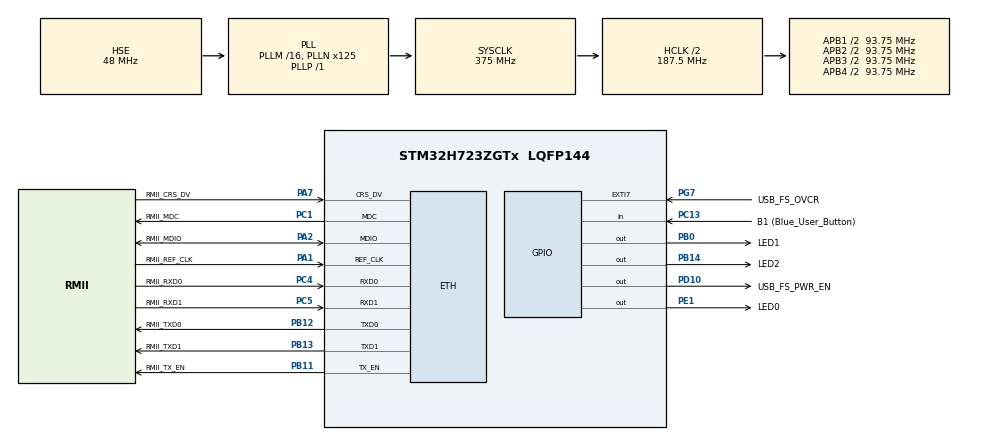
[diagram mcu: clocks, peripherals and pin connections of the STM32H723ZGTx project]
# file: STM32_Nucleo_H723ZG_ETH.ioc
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CORTEX_M7.AccessPermission_S-Cortex_Memory_Protection_Unit_Region1_Settings_S=MPU_REGION_FULL_ACCESS
CORTEX_M7.AccessPermission_S-Cortex_Memory_Protection_Unit_Region2_Settings_S=MPU_REGION_FULL_ACCESS
CORTEX_M7.BaseAddress_S-Cortex_Memory_Protection_Unit_Region1_Settings_S=0x30000000
CORTEX_M7.BaseAddress_S-Cortex_Memory_Protection_Unit_Region2_Settings_S=0x30000000
CORTEX_M7.CPU_DCache=Enabled
CORTEX_M7.CPU_ICache=Enabled
CORTEX_M7.DisableExec_S-Cortex_Memory_Protection_Unit_Region1_Settings_S=MPU_INSTRUCTION_ACCESS_DISABLE
CORTEX_M7.DisableExec_S-Cortex_Memory_Protection_Unit_Region2_Settings_S=MPU_INSTRUCTION_ACCESS_DISABLE
CORTEX_M7.Enable_S-Cortex_Memory_Protection_Unit_Region1_Settings_S=MPU_REGION_ENABLE
CORTEX_M7.Enable_S-Cortex_Memory_Protection_Unit_Region2_Settings_S=MPU_REGION_ENABLE
CORTEX_M7.IsBufferable_S-Cortex_Memory_Protection_Unit_Region2_Settings_S=MPU_ACCESS_BUFFERABLE
CORTEX_M7.IsShareable_S-Cortex_Memory_Protection_Unit_Region2_Settings_S=MPU_ACCESS_SHAREABLE
CORTEX_M7.Size_S-Cortex_Memory_Protection_Unit_Region1_Settings_S=MPU_REGION_SIZE_32KB
CORTEX_M7.Size_S-Cortex_Memory_Protection_Unit_Region2_Settings_S=MPU_REGION_SIZE_512B
CORTEX_M7.TypeExtField_S-Cortex_Memory_Protection_Unit_Region1_Settings_S=MPU_TEX_LEVEL1
CORTEX_M7.default_mode_Activation=1
ETH.MediaInterface=HAL_ETH_RMII_MODE
ETH.RxBuffLen=1536
ETH.TxDescAddress=0x30000100
FREERTOS.HEAP_NUMBER=4
FREERTOS.Tasks01=tcpTask,1,512,StartTCPTask,Default,NULL,Dynamic,NULL,NULL;HeartbeatTask,-1,256,StartHeartbeatTask,Default,NULL,Dynamic,NULL,NULL;rxMessages,-3,256,StartRXMessages,Default,NULL,Dynamic,NULL,NULL
FREERTOS.configMAX_PRIORITIES=16
FREERTOS.configTOTAL_HEAP_SIZE=25600
FREERTOS.configUSE_COUNTING_SEMAPHORES=1
FREERTOS.configUSE_NEWLIB_REENTRANT=1
LWIP.BSP.number=1
LWIP.IP_ADDRESS=192.168.050.010
LWIP.LWIP_DHCP=0
LWIP.LWIP_RAM_HEAP_POINTER=0x30000200
LWIP.MEM_SIZE=32232
LWIP.NETMASK_ADDRESS=255.255.255.000
LWIP.PBUF_POOL_BUFSIZE=592
LWIP.Version=v2.1.2_Cube
LWIP0.BSP.STBoard=false
LWIP0.BSP.api=BSP_COMPONENT_DRIVER
LWIP0.BSP.component=LAN8742
LWIP0.BSP.instance=LAN8742
LWIP0.BSP.name=Driver_PHY
LWIP0.BSP.semaphore=S_LAN8742
LWIP0.BSP.solution=LAN8742
Mcu.Family=STM32H7
Mcu.Name=STM32H723ZGTx
Mcu.Package=LQFP144
NVIC.ETH_IRQn=true\:5\:0\:false\:false\:true\:true\:true\:true\:true
NVIC.PriorityGroup=NVIC_PRIORITYGROUP_4
NVIC.TIM2_IRQn=true\:15\:0\:false\:false\:true\:false\:false\:true\:true
NVIC.TimeBase=TIM2_IRQn
NVIC.TimeBaseIP=TIM2
PA1.GPIO_Label=RMII_REF_CLK
PA1.GPIO_Speed=GPIO_SPEED_FREQ_VERY_HIGH
PA1.Mode=RMII
PA1.Signal=ETH_REF_CLK
PA10.GPIO_Label=USB_FS_ID
PA10.Signal=USB_OTG_HS_ID
PA13(JTMS/SWDIO).GPIO_Label=SWDIO
PA13(JTMS/SWDIO).Signal=DEBUG_JTMS-SWDIO
PA14(JTCK/SWCLK).GPIO_Label=SWCLK
PA14(JTCK/SWCLK).Signal=DEBUG_JTCK-SWCLK
PA2.GPIO_Label=RMII_MDIO
PA2.GPIO_Speed=GPIO_SPEED_FREQ_VERY_HIGH
PA2.Mode=RMII
PA2.Signal=ETH_MDIO
PA7.GPIO_Label=RMII_CRS_DV
PA7.GPIO_Speed=GPIO_SPEED_FREQ_VERY_HIGH
PA7.Mode=RMII
PA7.Signal=ETH_CRS_DV
PA9.GPIO_Label=USB_FS_VBUS
PA9.Signal=USB_OTG_HS_VBUS
PB0.GPIO_Label=LED1
PB0.Signal=GPIO_Output
PB11.GPIO_Label=RMII_TX_EN
PB11.GPIO_Speed=GPIO_SPEED_FREQ_VERY_HIGH
PB11.Mode=RMII
PB11.Signal=ETH_TX_EN
PB12.GPIO_Label=RMII_TXD0
PB12.GPIO_Speed=GPIO_SPEED_FREQ_VERY_HIGH
PB12.Mode=RMII
PB12.Signal=ETH_TXD0
PB13.GPIO_Label=RMII_TXD1
PB13.GPIO_Speed=GPIO_SPEED_FREQ_VERY_HIGH
PB13.Mode=RMII
PB13.Signal=ETH_TXD1
PB14.GPIO_Label=LED2
PB14.Signal=GPIO_Output
PC1.GPIO_Label=RMII_MDC
PC1.GPIO_Speed=GPIO_SPEED_FREQ_VERY_HIGH
PC1.Mode=RMII
PC1.Signal=ETH_MDC
PC13.GPIO_Label=B1 (Blue_User_Button)
PC13.Signal=GPIO_Input
PC14-OSC32_IN.Signal=RCC_OSC32_IN
PC15-OSC32_OUT.Signal=RCC_OSC32_OUT
PC4.GPIO_Label=RMII_RXD0
PC4.GPIO_Speed=GPIO_SPEED_FREQ_VERY_HIGH
PC4.Mode=RMII
PC4.Signal=ETH_RXD0
PC5.GPIO_Label=RMII_RXD1
PC5.GPIO_Speed=GPIO_SPEED_FREQ_VERY_HIGH
PC5.Mode=RMII
PC5.Signal=ETH_RXD1
PD10.GPIO_Label=USB_FS_PWR_EN
PD10.Signal=GPIO_Output
PD8.GPIO_Label=STLK_VCP_RX
PD8.Signal=USART3_TX
PD9.GPIO_Label=STLK_VCP_TX
PD9.Signal=USART3_RX
PE1.GPIO_Label=LED0
PE1.Signal=GPIO_Output
PG7.GPIO_Label=USB_FS_OVCR
PG7.Signal=GPXTI7
PH0-OSC_IN.GPIO_Label=MCO
PH0-OSC_IN.Mode=HSE-External-Oscillator
PH0-OSC_IN.Signal=RCC_OSC_IN
PH1-OSC_OUT.Mode=HSE-External-Oscillator
PH1-OSC_OUT.Signal=RCC_OSC_OUT
ProjectManager.HeapSize=0x200
ProjectManager.StackSize=0x400
ProjectManager.TargetToolchain=STM32CubeIDE
RCC.ADCFreq_Value=456000000
RCC.APB1Freq_Value=93750000
RCC.APB2Freq_Value=93750000
RCC.APB3Freq_Value=93750000
RCC.APB4Freq_Value=93750000
RCC.CortexFreq_Value=375000000
RCC.D1PPRE=RCC_APB3_DIV2
RCC.D2PPRE1=RCC_APB1_DIV2
RCC.D2PPRE2=RCC_APB2_DIV2
RCC.D3PPRE=RCC_APB4_DIV2
RCC.DIVM1=16
RCC.DIVM2=1
RCC.DIVN1=125
RCC.DIVN2=19
RCC.DIVP1=1
RCC.DIVQ1=4
RCC.HCLKFreq_Value=187500000
RCC.HPRE=RCC_HCLK_DIV2
RCC.HSE_VALUE=48000000
RCC.PLLSourceVirtual=RCC_PLLSOURCE_HSE
RCC.SYSCLKFreq_VALUE=375000000
RCC.SYSCLKSource=RCC_SYSCLKSOURCE_PLLCLK
RCC.SupplySource=PWR_EXTERNAL_SOURCE_SUPPLY
RCC.USBCLockSelection=RCC_USBCLKSOURCE_HSI48
RCC.USBFreq_Value=48000000
VP_FREERTOS_VS_CMSIS_V1.Mode=CMSIS_V1
VP_LWIP_VS_Enabled.Mode=Enabled
VP_MEMORYMAP_VS_MEMORYMAP.Mode=CurAppReg
VP_RTC_VS_RTC_Activate.Mode=RTC_Enabled
VP_SYS_VS_tim2.Mode=TIM2
board=NUCLEO-H723ZG

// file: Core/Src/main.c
/* USER CODE BEGIN Header */
/**
  ******************************************************************************
  * @file           : main.c
  * @brief          : Main program body
  ******************************************************************************
  * @attention
  *
  * Copyright (c) 2022 STMicroelectronics.
  * All rights reserved.
  *
  * This software is licensed under terms that can be found in the LICENSE file
  * in the root directory of this software component.
  * If no LICENSE file comes with this software, it is provided AS-IS.
  *
  ******************************************************************************
  */
/* USER CODE END Header */
#include "main.h"
#include "cmsis_os.h"
#include "lwip.h"

/* USER CODE BEGIN Includes */
/* ETH_CODE: add lwiperf, see comment in StartDefaultTask function */
#include "lwip/apps/lwiperf.h"
#include "tcpserver.h"
#include "tsqueue.h"
#include "tcppacket.h"
/* USER CODE END Includes */

RTC_HandleTypeDef hrtc;

osThreadId tcpTaskHandle;
osThreadId HeartbeatTaskHandle;
osThreadId rxMessagesHandle;

void SystemClock_Config(void);
static void MPU_Config(void);
static void MX_GPIO_Init(void);
static void MX_RTC_Init(void);
void StartTCPTask(void const * argument);
void StartHeartbeatTask(void const * argument);
void StartRXMessages(void const * argument);

int main(void)
{

  /* USER CODE BEGIN 1 */
  //SystemClock_Config();
  /* USER CODE END 1 */

  /* MPU Configuration--------------------------------------------------------*/
  MPU_Config();

  /* Enable the CPU Cache */

  /* Enable I-Cache---------------------------------------------------------*/
  SCB_EnableICache();

  /* Enable D-Cache---------------------------------------------------------*/
  SCB_EnableDCache();

  /* MCU Configuration--------------------------------------------------------*/

  /* Reset of all peripherals, Initializes the Flash interface and the Systick. */
  HAL_Init();

  /* USER CODE BEGIN Init */
  //HAL_TIM_Base_Init(&htim2); // Assuming you are using TIM1
  /* USER CODE END Init */

  /* Configure the system clock */
  SystemClock_Config();

  /* Initialize all configured peripherals */
  MX_GPIO_Init();
  MX_RTC_Init();

  /* Create the thread(s) */
  /* definition and creation of tcpTask */
  osThreadDef(tcpTask, StartTCPTask, osPriorityAboveNormal, 0, 512);
  tcpTaskHandle = osThreadCreate(osThread(tcpTask), NULL);

  /* definition and creation of HeartbeatTask */
  osThreadDef(HeartbeatTask, StartHeartbeatTask, osPriorityBelowNormal, 0, 256);
  HeartbeatTaskHandle = osThreadCreate(osThread(HeartbeatTask), NULL);

  /* definition and creation of rxMessages */
  osThreadDef(rxMessages, StartRXMessages, osPriorityIdle, 0, 256);
  rxMessagesHandle = osThreadCreate(osThread(rxMessages), NULL);

  /* Start scheduler */
  osKernelStart();

  /* We should never get here as control is now taken by the scheduler */

  /* Infinite loop */
  while (1)
  {

  }
}

void SystemClock_Config(void)
{
  RCC_OscInitTypeDef RCC_OscInitStruct = {0};
  RCC_ClkInitTypeDef RCC_ClkInitStruct = {0};

  /** Supply configuration update enable
  */
  HAL_PWREx_ConfigSupply(PWR_EXTERNAL_SOURCE_SUPPLY);

  /** Configure the main internal regulator output voltage
  */
  __HAL_PWR_VOLTAGESCALING_CONFIG(PWR_REGULATOR_VOLTAGE_SCALE1);

  while(!__HAL_PWR_GET_FLAG(PWR_FLAG_VOSRDY)) {}

  /** Initializes the RCC Oscillators according to the specified parameters
  * in the RCC_OscInitTypeDef structure.
  */
  RCC_OscInitStruct.OscillatorType = RCC_OSCILLATORTYPE_LSI|RCC_OSCILLATORTYPE_HSE;
  RCC_OscInitStruct.HSEState = RCC_HSE_ON;
  RCC_OscInitStruct.LSIState = RCC_LSI_ON;
  RCC_OscInitStruct.PLL.PLLState = RCC_PLL_ON;
  RCC_OscInitStruct.PLL.PLLSource = RCC_PLLSOURCE_HSE;
  RCC_OscInitStruct.PLL.PLLM = 16;
  RCC_OscInitStruct.PLL.PLLN = 125;
  RCC_OscInitStruct.PLL.PLLP = 1;
  RCC_OscInitStruct.PLL.PLLQ = 4;
  RCC_OscInitStruct.PLL.PLLR = 2;
  RCC_OscInitStruct.PLL.PLLRGE = RCC_PLL1VCIRANGE_1;
  RCC_OscInitStruct.PLL.PLLVCOSEL = RCC_PLL1VCOWIDE;
  RCC_OscInitStruct.PLL.PLLFRACN = 0;
  if (HAL_RCC_OscConfig(&RCC_OscInitStruct) != HAL_OK)
  {
    Error_Handler();
  }

  /** Initializes the CPU, AHB and APB buses clocks
  */
  RCC_ClkInitStruct.ClockType = RCC_CLOCKTYPE_HCLK|RCC_CLOCKTYPE_SYSCLK
                              |RCC_CLOCKTYPE_PCLK1|RCC_CLOCKTYPE_PCLK2
                              |RCC_CLOCKTYPE_D3PCLK1|RCC_CLOCKTYPE_D1PCLK1;
  RCC_ClkInitStruct.SYSCLKSource = RCC_SYSCLKSOURCE_PLLCLK;
  RCC_ClkInitStruct.SYSCLKDivider = RCC_SYSCLK_DIV1;
  RCC_ClkInitStruct.AHBCLKDivider = RCC_HCLK_DIV2;
  RCC_ClkInitStruct.APB3CLKDivider = RCC_APB3_DIV2;
  RCC_ClkInitStruct.APB1CLKDivider = RCC_APB1_DIV2;
  RCC_ClkInitStruct.APB2CLKDivider = RCC_APB2_DIV2;
  RCC_ClkInitStruct.APB4CLKDivider = RCC_APB4_DIV2;

  if (HAL_RCC_ClockConfig(&RCC_ClkInitStruct, FLASH_LATENCY_2) != HAL_OK)
  {
    Error_Handler();
  }
}

static void MX_RTC_Init(void)
{

  /** Initialize RTC Only
  */
  hrtc.Instance = RTC;
  hrtc.Init.HourFormat = RTC_HOURFORMAT_24;
  hrtc.Init.AsynchPrediv = 127;
  hrtc.Init.SynchPrediv = 255;
  hrtc.Init.OutPut = RTC_OUTPUT_DISABLE;
  hrtc.Init.OutPutPolarity = RTC_OUTPUT_POLARITY_HIGH;
  hrtc.Init.OutPutType = RTC_OUTPUT_TYPE_OPENDRAIN;
  hrtc.Init.OutPutRemap = RTC_OUTPUT_REMAP_NONE;
  if (HAL_RTC_Init(&hrtc) != HAL_OK)
  {
    Error_Handler();
  }

}

static void MX_GPIO_Init(void)
{
  GPIO_InitTypeDef GPIO_InitStruct = {0};

  /* GPIO Ports Clock Enable */
  __HAL_RCC_GPIOC_CLK_ENABLE();
  __HAL_RCC_GPIOH_CLK_ENABLE();
  __HAL_RCC_GPIOA_CLK_ENABLE();
  __HAL_RCC_GPIOB_CLK_ENABLE();
  __HAL_RCC_GPIOD_CLK_ENABLE();
  __HAL_RCC_GPIOG_CLK_ENABLE();
  __HAL_RCC_GPIOE_CLK_ENABLE();

  /*Configure GPIO pin Output Level */
  HAL_GPIO_WritePin(GPIOB, LED1_Pin|LED2_Pin, GPIO_PIN_RESET);

  /*Configure GPIO pin Output Level */
  HAL_GPIO_WritePin(USB_FS_PWR_EN_GPIO_Port, USB_FS_PWR_EN_Pin, GPIO_PIN_RESET);

  /*Configure GPIO pin Output Level */
  HAL_GPIO_WritePin(LED0_GPIO_Port, LED0_Pin, GPIO_PIN_RESET);

  /*Configure GPIO pin : B1_Pin */
  GPIO_InitStruct.Pin = B1_Pin;
  GPIO_InitStruct.Mode = GPIO_MODE_INPUT;
  GPIO_InitStruct.Pull = GPIO_NOPULL;
  HAL_GPIO_Init(B1_GPIO_Port, &GPIO_InitStruct);

  /*Configure GPIO pins : LED1_Pin LED2_Pin */
  GPIO_InitStruct.Pin = LED1_Pin|LED2_Pin;
  GPIO_InitStruct.Mode = GPIO_MODE_OUTPUT_PP;
  GPIO_InitStruct.Pull = GPIO_NOPULL;
  GPIO_InitStruct.Speed = GPIO_SPEED_FREQ_LOW;
  HAL_GPIO_Init(GPIOB, &GPIO_InitStruct);

  /*Configure GPIO pins : STLK_VCP_RX_Pin STLK_VCP_TX_Pin */
  GPIO_InitStruct.Pin = STLK_VCP_RX_Pin|STLK_VCP_TX_Pin;
  GPIO_InitStruct.Mode = GPIO_MODE_AF_PP;
  GPIO_InitStruct.Pull = GPIO_NOPULL;
  GPIO_InitStruct.Speed = GPIO_SPEED_FREQ_LOW;
  GPIO_InitStruct.Alternate = GPIO_AF7_USART3;
  HAL_GPIO_Init(GPIOD, &GPIO_InitStruct);

  /*Configure GPIO pin : USB_FS_PWR_EN_Pin */
  GPIO_InitStruct.Pin = USB_FS_PWR_EN_Pin;
  GPIO_InitStruct.Mode = GPIO_MODE_OUTPUT_PP;
  GPIO_InitStruct.Pull = GPIO_NOPULL;
  GPIO_InitStruct.Speed = GPIO_SPEED_FREQ_LOW;
  HAL_GPIO_Init(USB_FS_PWR_EN_GPIO_Port, &GPIO_InitStruct);

  /*Configure GPIO pin : USB_FS_OVCR_Pin */
  GPIO_InitStruct.Pin = USB_FS_OVCR_Pin;
  GPIO_InitStruct.Mode = GPIO_MODE_IT_RISING;
  GPIO_InitStruct.Pull = GPIO_NOPULL;
  HAL_GPIO_Init(USB_FS_OVCR_GPIO_Port, &GPIO_InitStruct);

  /*Configure GPIO pin : USB_FS_ID_Pin */
  GPIO_InitStruct.Pin = USB_FS_ID_Pin;
  GPIO_InitStruct.Mode = GPIO_MODE_AF_PP;
  GPIO_InitStruct.Pull = GPIO_NOPULL;
  GPIO_InitStruct.Speed = GPIO_SPEED_FREQ_LOW;
  GPIO_InitStruct.Alternate = GPIO_AF10_OTG1_HS;
  HAL_GPIO_Init(USB_FS_ID_GPIO_Port, &GPIO_InitStruct);

  /*Configure GPIO pin : LED0_Pin */
  GPIO_InitStruct.Pin = LED0_Pin;
  GPIO_InitStruct.Mode = GPIO_MODE_OUTPUT_PP;
  GPIO_InitStruct.Pull = GPIO_NOPULL;
  GPIO_InitStruct.Speed = GPIO_SPEED_FREQ_LOW;
  HAL_GPIO_Init(LED0_GPIO_Port, &GPIO_InitStruct);

}

/* USER CODE BEGIN 4 */
void fsm_transition(int transition) {
	// use your imagination
};

void sw_reset(void) {

};

void set_bootloader(void) {

};

void get_git_hash(void) {

};

void valve_control(uint32_t valve, uint32_t state) {
	HAL_GPIO_TogglePin(LED2_GPIO_Port, LED2_Pin);
	// doing this for debug
};

void config_calibration(uint64_t* calibration_data) {

};
/* USER CODE END 4 */

void StartTCPTask(void const * argument)
{
  /* init code for LWIP */
  MX_LWIP_Init();
  /* USER CODE BEGIN 5 */

  server_init();
	for (;;) {
	  osDelay(1000);
	}

  /* USER CODE END 5 */
}

void StartHeartbeatTask(void const * argument)
{
  /* USER CODE BEGIN StartHeartbeatTask */
  // Infinite loop

  for(;;)
  {
	  // Heartbeat LED0
	  HAL_GPIO_TogglePin(GPIOE, GPIO_PIN_1); // FC Blue RGB LED

	  char* msg = malloc(12);
	  memcpy(msg, "heartbeat\r\n", 12);

	  server_sendMsg(ALL_CONNECTIONS,  msg, 12);

	  osDelay(500);

  }

  /* USER CODE END StartHeartbeatTask */
}

void StartRXMessages(void const * argument)
{
  /* USER CODE BEGIN StartRXMessages */
	char buf[MAX_MSG_LEN];
  // Infinite loop
  for(;;)
  {
	struct message msg = {-1, buf, MAX_MSG_LEN};
	server_retrieveMsg(&msg);
	// Ideally, server_retrieveMsg should give a packet type and a separate connection fd but that's a massive can of worms
	// Instead we're going to make a packet type from a different packet type so it works with my code :)
	struct packet rx_packet;
	struct packet tx_packet;

	rx_packet.packet = msg.buf;
	rx_packet.packet_len = msg.len;
	rx_tcppacket_parse(&rx_packet, &tx_packet);

	/*
	if (tx_packet.len > 0) {
		server_sendMsg(msg.connfd, tx_packet.packet, tx_packet.len);
	}
	*/
	osDelay(1);
  }

  /* USER CODE END StartRXMessages */
}

 /* MPU Configuration */

void MPU_Config(void)
{
  MPU_Region_InitTypeDef MPU_InitStruct = {0};

  /* Disables the MPU */
  HAL_MPU_Disable();

  /** Initializes and configures the Region and the memory to be protected
  */
  MPU_InitStruct.Enable = MPU_REGION_ENABLE;
  MPU_InitStruct.Number = MPU_REGION_NUMBER0;
  MPU_InitStruct.BaseAddress = 0x0;
  MPU_InitStruct.Size = MPU_REGION_SIZE_4GB;
  MPU_InitStruct.SubRegionDisable = 0x87;
  MPU_InitStruct.TypeExtField = MPU_TEX_LEVEL0;
  MPU_InitStruct.AccessPermission = MPU_REGION_NO_ACCESS;
  MPU_InitStruct.DisableExec = MPU_INSTRUCTION_ACCESS_DISABLE;
  MPU_InitStruct.IsShareable = MPU_ACCESS_SHAREABLE;
  MPU_InitStruct.IsCacheable = MPU_ACCESS_NOT_CACHEABLE;
  MPU_InitStruct.IsBufferable = MPU_ACCESS_NOT_BUFFERABLE;

  HAL_MPU_ConfigRegion(&MPU_InitStruct);

  /** Initializes and configures the Region and the memory to be protected
  */
  MPU_InitStruct.Number = MPU_REGION_NUMBER1;
  MPU_InitStruct.BaseAddress = 0x30000000;
  MPU_InitStruct.Size = MPU_REGION_SIZE_32KB;
  MPU_InitStruct.SubRegionDisable = 0x0;
  MPU_InitStruct.TypeExtField = MPU_TEX_LEVEL1;
  MPU_InitStruct.AccessPermission = MPU_REGION_FULL_ACCESS;
  MPU_InitStruct.IsShareable = MPU_ACCESS_NOT_SHAREABLE;

  HAL_MPU_ConfigRegion(&MPU_InitStruct);

  /** Initializes and configures the Region and the memory to be protected
  */
  MPU_InitStruct.Number = MPU_REGION_NUMBER2;
  MPU_InitStruct.Size = MPU_REGION_SIZE_512B;
  MPU_InitStruct.TypeExtField = MPU_TEX_LEVEL0;
  MPU_InitStruct.IsShareable = MPU_ACCESS_SHAREABLE;
  MPU_InitStruct.IsBufferable = MPU_ACCESS_BUFFERABLE;

  HAL_MPU_ConfigRegion(&MPU_InitStruct);
  /* Enables the MPU */
  HAL_MPU_Enable(MPU_PRIVILEGED_DEFAULT);

}

void HAL_TIM_PeriodElapsedCallback(TIM_HandleTypeDef *htim)
{
  if (htim->Instance == TIM2) {
    HAL_IncTick();
  }
}

void Error_Handler(void)
{
  __disable_irq();
  while (1)
  {
  }
}
